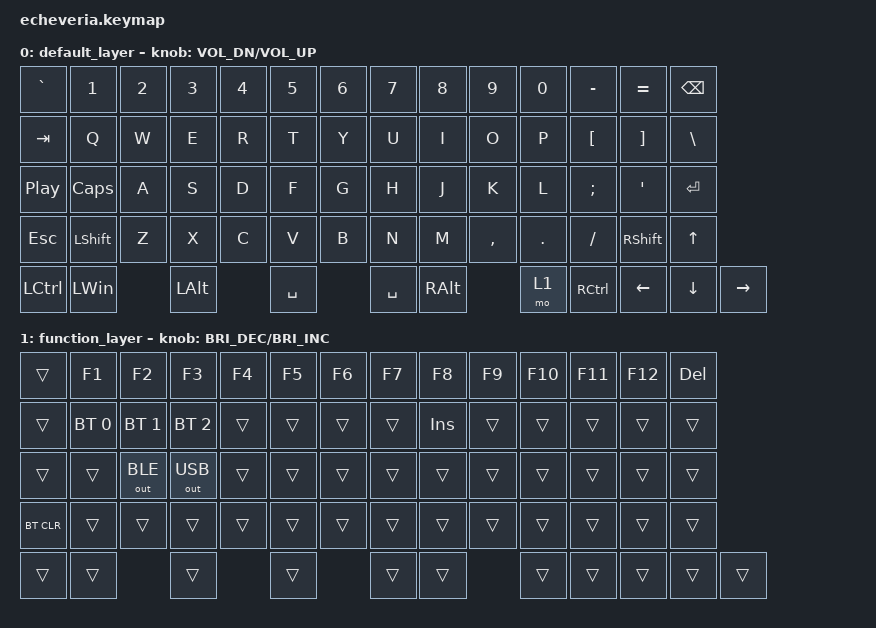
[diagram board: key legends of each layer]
#include <behaviors.dtsi>
#include <dt-bindings/zmk/keys.h>
#include <dt-bindings/zmk/bt.h>
#include <dt-bindings/zmk/outputs.h>

#define DEFAULT 0
#define FUNCTION 1

/ {
    keymap {
        compatible = "zmk,keymap";

        default_layer {
            bindings = <
                                 &kp GRAVE      &kp NUMBER_1 &kp NUMBER_2 &kp NUMBER_3 &kp NUMBER_4 &kp NUMBER_5 &kp NUMBER_6         &kp NUMBER_7 &kp NUMBER_8 &kp NUMBER_9 &kp NUMBER_0 &kp MINUS     &kp EQUAL              &kp BACKSPACE
                                 &kp TAB        &kp Q        &kp W        &kp E        &kp R        &kp T                             &kp Y        &kp U        &kp I        &kp O        &kp P         &kp LEFT_BRACKET &kp RIGHT_BRACKET &kp BACKSLASH
                &kp C_PLAY_PAUSE &kp CAPSLOCK   &kp A        &kp S        &kp D        &kp F        &kp G                             &kp H        &kp J        &kp K        &kp L        &kp SEMICOLON &kp APOSTROPHE   &kp ENTER
                &kp ESC          &kp LEFT_SHIFT &kp Z        &kp X        &kp C        &kp V        &kp B                             &kp N        &kp M        &kp COMMA    &kp PERIOD   &kp SLASH     &kp RIGHT_SHIFT           &kp UP_ARROW
                                 &kp LEFT_CONTROL   &kp LEFT_WIN     &kp LALT                 &kp SPACE                               &kp SPACE       &kp RIGHT_ALT       &mo 1   &kp RIGHT_CONTROL        &kp LEFT_ARROW &kp DOWN_ARROW &kp RIGHT_ARROW
            >;
            sensor-bindings = <&inc_dec_kp C_VOL_DN C_VOL_UP>;
        };

        function_layer {
            bindings = <
                                 &trans      &kp F1       &kp F2       &kp F3       &kp F4       &kp F5                            &kp F6       &kp F7       &kp F8       &kp F9       &kp F10       &kp F11     &kp F12              &kp DEL
                                 &trans      &bt BT_SEL 0 &bt BT_SEL 1 &bt BT_SEL 2 &trans       &trans                            &trans       &trans       &kp INSERT   &trans       &trans       &trans       &trans       &trans       
                &trans           &trans      &out OUT_BLE &out OUT_USB &trans       &trans       &trans                            &trans       &trans       &trans       &trans       &trans       &trans       &trans       
                &bt BT_CLR           &trans      &trans       &trans       &trans       &trans       &trans                            &trans       &trans       &trans       &trans       &trans       &trans                       &trans 
                                 &trans            &trans            &trans                  &trans                                          &trans        &trans                 &trans     &trans                       &trans &trans &trans
            >;
            sensor-bindings = <&inc_dec_kp C_BRIGHTNESS_DEC C_BRIGHTNESS_INC>;
        };
    };
};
